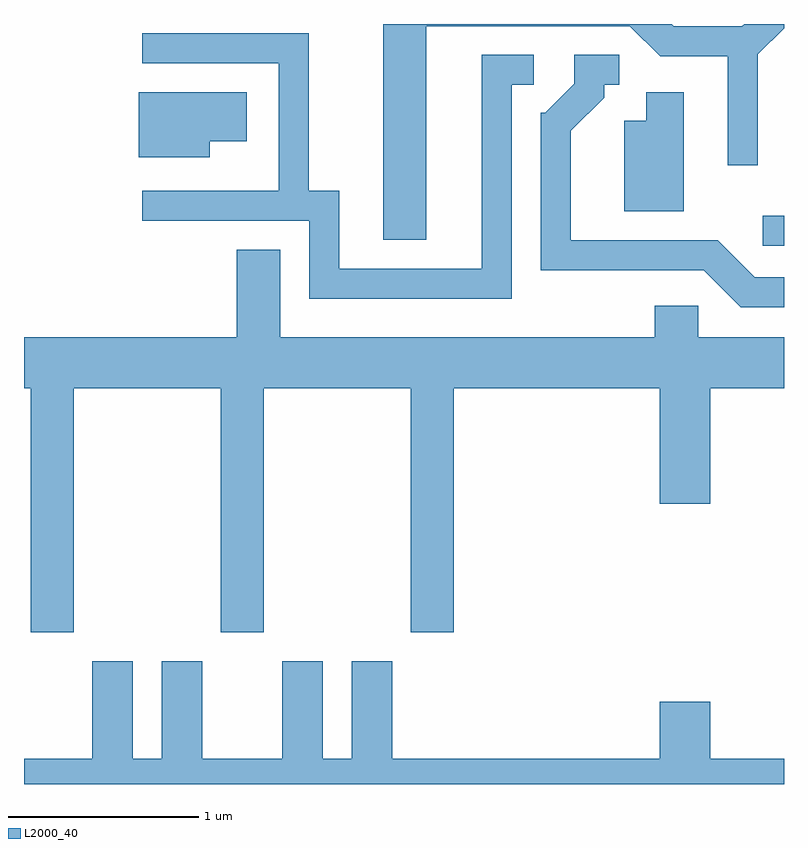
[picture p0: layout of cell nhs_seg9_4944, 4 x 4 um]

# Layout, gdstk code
import gdstk
lib = gdstk.Library(unit=1e-6, precision=1e-09)
def R(c, l, rs):  # rectangles x0, y0, x1, y1
    for r in rs: c.add(gdstk.rectangle(r[:2], r[2:], *l))
def P(c, l, *ps):  # polygons
    for p in ps: c.add(gdstk.Polygon(p, *l))
L2000_40 = (2000, 40)

nhs_seg9_4944 = lib.new_cell('nhs_seg9_4944')
R(nhs_seg9_4944, L2000_40, [(335.498,1959.266,335.611,1959.424)])
P(nhs_seg9_4944, L2000_40, [(333.729,1960.421),(334.799,1960.421),(334.959,1960.261),(335.316,1960.261),(335.316,1959.688),(335.474,1959.688),(335.474,1960.274),(335.611,1960.41),(335.611,1960.432),(335.402,1960.432),(335.389,1960.419),(335.032,1960.419),(335.019,1960.432),(333.501,1960.432),(333.501,1959.296),(333.729,1959.296)],
  [(334.179,1960.111),(334.293,1960.111),(334.293,1960.269),(334.021,1960.269),(334.021,1959.144),(333.269,1959.144),(333.269,1959.554),(333.109,1959.554),(333.109,1960.384),(332.233,1960.384),(332.233,1960.226),(332.951,1960.226),(332.951,1959.554),(332.233,1959.554),(332.233,1959.396),(333.111,1959.396),(333.111,1958.986),(334.179,1958.986)],
  [(335.611,1959.099),(335.457,1959.099),(335.262,1959.294),(334.489,1959.294),(334.489,1959.869),(334.664,1960.044),(334.664,1960.111),(334.743,1960.111),(334.743,1960.269),(334.506,1960.269),(334.506,1960.117),(334.354,1959.964),(334.331,1959.964),(334.331,1959.136),(335.189,1959.136),(335.384,1958.941),(335.611,1958.941)],
  [(332.589,1959.816),(332.784,1959.816),(332.784,1960.074),(332.216,1960.074),(332.216,1959.731),(332.589,1959.731)],
  [(335.084,1960.074),(334.886,1960.074),(334.886,1959.924),(334.771,1959.924),(334.771,1959.446),(335.084,1959.446)],
  [(331.874,1958.516),(332.646,1958.516),(332.646,1957.231),(332.874,1957.231),(332.874,1958.516),(333.646,1958.516),(333.646,1957.231),(333.874,1957.231),(333.874,1958.516),(334.956,1958.516),(334.956,1957.906),(335.224,1957.906),(335.224,1958.516),(335.611,1958.516),(335.611,1958.784),(335.159,1958.784),(335.159,1958.949),(334.931,1958.949),(334.931,1958.784),(332.959,1958.784),(332.959,1959.244),(332.731,1959.244),(332.731,1958.784),(331.611,1958.784),(331.611,1958.516),(331.646,1958.516),(331.646,1957.231),(331.874,1957.231)],
  [(335.611,1956.564),(335.224,1956.564),(335.224,1956.864),(334.956,1956.864),(334.956,1956.564),(333.549,1956.564),(333.549,1957.079),(333.336,1957.079),(333.336,1956.564),(333.184,1956.564),(333.184,1957.079),(332.971,1957.079),(332.971,1956.564),(332.549,1956.564),(332.549,1957.079),(332.336,1957.079),(332.336,1956.564),(332.184,1956.564),(332.184,1957.079),(331.971,1957.079),(331.971,1956.564),(331.611,1956.564),(331.611,1956.432),(335.611,1956.432)])

lib.write_gds('nhs_seg9_4944.gds')
